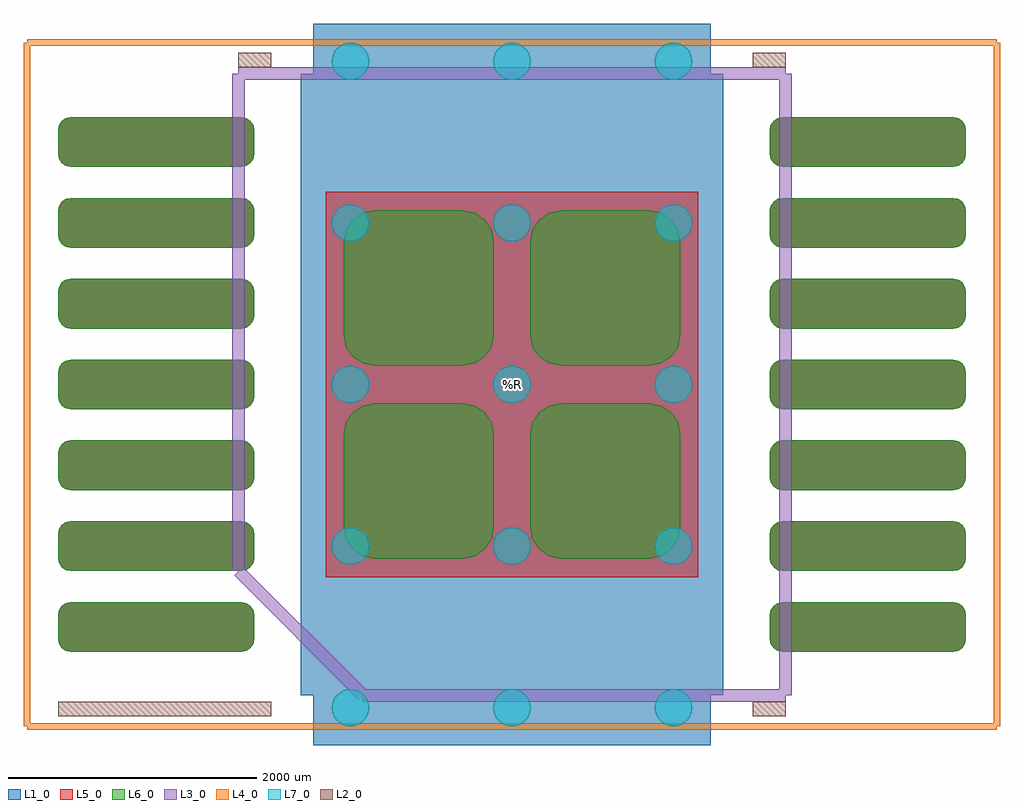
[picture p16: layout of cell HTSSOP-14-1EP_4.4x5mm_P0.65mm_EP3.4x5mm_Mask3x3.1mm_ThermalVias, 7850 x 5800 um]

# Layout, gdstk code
import gdstk
lib = gdstk.Library(unit=1e-6, precision=1e-09)
def R(c, l, rs):  # rectangles x0, y0, x1, y1
    for r in rs: c.add(gdstk.rectangle(r[:2], r[2:], *l))
def P(c, l, *ps):  # polygons
    for p in ps: c.add(gdstk.Polygon(p, *l))
L1_0 = (1, 0)
L2_0 = (2, 0)
L3_0 = (3, 0)
L4_0 = (4, 0)
L5_0 = (5, 0)
L6_0 = (6, 0)
L7_0 = (7, 0)

htssop_14_1ep_4_4x5mm_p0 = lib.new_cell('HTSSOP-14-1EP_4.4x5mm_P0.65mm_EP3.4x5mm_Mask3x3.1mm_ThermalVias')
R(htssop_14_1ep_4_4x5mm_p0, L1_0, [(-1600,-2900,1600,2900), (-1700,-2500,1700,2500)])
P(htssop_14_1ep_4_4x5mm_p0, L1_0, [(-2175,-2150),(-2137,-2142),(-2104,-2121),(-2083,-2088),(-2075,-2050),(-2075,-1850),(-2083,-1812),(-2104,-1779),(-2137,-1758),(-2175,-1750),(-3550,-1750),(-3588,-1758),(-3621,-1779),(-3642,-1812),(-3650,-1850),(-3650,-2050),(-3642,-2088),(-3621,-2121),(-3588,-2142),(-3550,-2150)],
  [(-2175,-1500),(-2137,-1492),(-2104,-1471),(-2083,-1438),(-2075,-1400),(-2075,-1200),(-2083,-1162),(-2104,-1129),(-2137,-1108),(-2175,-1100),(-3550,-1100),(-3588,-1108),(-3621,-1129),(-3642,-1162),(-3650,-1200),(-3650,-1400),(-3642,-1438),(-3621,-1471),(-3588,-1492),(-3550,-1500)],
  [(-2175,-850),(-2137,-842),(-2104,-821),(-2083,-788),(-2075,-750),(-2075,-550),(-2083,-512),(-2104,-479),(-2137,-458),(-2175,-450),(-3550,-450),(-3588,-458),(-3621,-479),(-3642,-512),(-3650,-550),(-3650,-750),(-3642,-788),(-3621,-821),(-3588,-842),(-3550,-850)],
  [(-2175,-200),(-2137,-192),(-2104,-171),(-2083,-138),(-2075,-100),(-2075,100),(-2083,138),(-2104,171),(-2137,192),(-2175,200),(-3550,200),(-3588,192),(-3621,171),(-3642,138),(-3650,100),(-3650,-100),(-3642,-138),(-3621,-171),(-3588,-192),(-3550,-200)],
  [(-2175,450),(-2137,458),(-2104,479),(-2083,512),(-2075,550),(-2075,750),(-2083,788),(-2104,821),(-2137,842),(-2175,850),(-3550,850),(-3588,842),(-3621,821),(-3642,788),(-3650,750),(-3650,550),(-3642,512),(-3621,479),(-3588,458),(-3550,450)],
  [(-2175,1100),(-2137,1108),(-2104,1129),(-2083,1162),(-2075,1200),(-2075,1400),(-2083,1438),(-2104,1471),(-2137,1492),(-2175,1500),(-3550,1500),(-3588,1492),(-3621,1471),(-3642,1438),(-3650,1400),(-3650,1200),(-3642,1162),(-3621,1129),(-3588,1108),(-3550,1100)],
  [(-2175,1750),(-2137,1758),(-2104,1779),(-2083,1812),(-2075,1850),(-2075,2050),(-2083,2088),(-2104,2121),(-2137,2142),(-2175,2150),(-3550,2150),(-3588,2142),(-3621,2121),(-3642,2088),(-3650,2050),(-3650,1850),(-3642,1812),(-3621,1779),(-3588,1758),(-3550,1750)],
  [(3550,1750),(3588,1758),(3621,1779),(3642,1812),(3650,1850),(3650,2050),(3642,2088),(3621,2121),(3588,2142),(3550,2150),(2175,2150),(2137,2142),(2104,2121),(2083,2088),(2075,2050),(2075,1850),(2083,1812),(2104,1779),(2137,1758),(2175,1750)],
  [(3550,1100),(3588,1108),(3621,1129),(3642,1162),(3650,1200),(3650,1400),(3642,1438),(3621,1471),(3588,1492),(3550,1500),(2175,1500),(2137,1492),(2104,1471),(2083,1438),(2075,1400),(2075,1200),(2083,1162),(2104,1129),(2137,1108),(2175,1100)],
  [(3550,450),(3588,458),(3621,479),(3642,512),(3650,550),(3650,750),(3642,788),(3621,821),(3588,842),(3550,850),(2175,850),(2137,842),(2104,821),(2083,788),(2075,750),(2075,550),(2083,512),(2104,479),(2137,458),(2175,450)],
  [(3550,-200),(3588,-192),(3621,-171),(3642,-138),(3650,-100),(3650,100),(3642,138),(3621,171),(3588,192),(3550,200),(2175,200),(2137,192),(2104,171),(2083,138),(2075,100),(2075,-100),(2083,-138),(2104,-171),(2137,-192),(2175,-200)],
  [(3550,-850),(3588,-842),(3621,-821),(3642,-788),(3650,-750),(3650,-550),(3642,-512),(3621,-479),(3588,-458),(3550,-450),(2175,-450),(2137,-458),(2104,-479),(2083,-512),(2075,-550),(2075,-750),(2083,-788),(2104,-821),(2137,-842),(2175,-850)],
  [(3550,-1500),(3588,-1492),(3621,-1471),(3642,-1438),(3650,-1400),(3650,-1200),(3642,-1162),(3621,-1129),(3588,-1108),(3550,-1100),(2175,-1100),(2137,-1108),(2104,-1129),(2083,-1162),(2075,-1200),(2075,-1400),(2083,-1438),(2104,-1471),(2137,-1492),(2175,-1500)],
  [(3550,-2150),(3588,-2142),(3621,-2121),(3642,-2088),(3650,-2050),(3650,-1850),(3642,-1812),(3621,-1779),(3588,-1758),(3550,-1750),(2175,-1750),(2137,-1758),(2104,-1779),(2083,-1812),(2075,-1850),(2075,-2050),(2083,-2088),(2104,-2121),(2137,-2142),(2175,-2150)],
  [(-1000,-2600),(-1023,-2485),(-1088,-2388),(-1185,-2323),(-1300,-2300),(-1415,-2323),(-1512,-2388),(-1577,-2485),(-1600,-2600),(-1577,-2715),(-1512,-2812),(-1415,-2877),(-1300,-2900),(-1185,-2877),(-1088,-2812),(-1023,-2715)],
  [(300,-2600),(277,-2485),(212,-2388),(115,-2323),(0,-2300),(-115,-2323),(-212,-2388),(-277,-2485),(-300,-2600),(-277,-2715),(-212,-2812),(-115,-2877),(0,-2900),(115,-2877),(212,-2812),(277,-2715)],
  [(1600,-2600),(1577,-2485),(1512,-2388),(1415,-2323),(1300,-2300),(1185,-2323),(1088,-2388),(1023,-2485),(1000,-2600),(1023,-2715),(1088,-2812),(1185,-2877),(1300,-2900),(1415,-2877),(1512,-2812),(1577,-2715)],
  [(-1000,-1300),(-1023,-1185),(-1088,-1088),(-1185,-1023),(-1300,-1000),(-1415,-1023),(-1512,-1088),(-1577,-1185),(-1600,-1300),(-1577,-1415),(-1512,-1512),(-1415,-1577),(-1300,-1600),(-1185,-1577),(-1088,-1512),(-1023,-1415)],
  [(300,-1300),(277,-1185),(212,-1088),(115,-1023),(0,-1000),(-115,-1023),(-212,-1088),(-277,-1185),(-300,-1300),(-277,-1415),(-212,-1512),(-115,-1577),(0,-1600),(115,-1577),(212,-1512),(277,-1415)],
  [(1600,-1300),(1577,-1185),(1512,-1088),(1415,-1023),(1300,-1000),(1185,-1023),(1088,-1088),(1023,-1185),(1000,-1300),(1023,-1415),(1088,-1512),(1185,-1577),(1300,-1600),(1415,-1577),(1512,-1512),(1577,-1415)],
  [(-1000,0),(-1023,115),(-1088,212),(-1185,277),(-1300,300),(-1415,277),(-1512,212),(-1577,115),(-1600,0),(-1577,-115),(-1512,-212),(-1415,-277),(-1300,-300),(-1185,-277),(-1088,-212),(-1023,-115)],
  [(300,0),(277,115),(212,212),(115,277),(0,300),(-115,277),(-212,212),(-277,115),(-300,0),(-277,-115),(-212,-212),(-115,-277),(0,-300),(115,-277),(212,-212),(277,-115)],
  [(1600,0),(1577,115),(1512,212),(1415,277),(1300,300),(1185,277),(1088,212),(1023,115),(1000,0),(1023,-115),(1088,-212),(1185,-277),(1300,-300),(1415,-277),(1512,-212),(1577,-115)],
  [(-1000,1300),(-1023,1415),(-1088,1512),(-1185,1577),(-1300,1600),(-1415,1577),(-1512,1512),(-1577,1415),(-1600,1300),(-1577,1185),(-1512,1088),(-1415,1023),(-1300,1000),(-1185,1023),(-1088,1088),(-1023,1185)],
  [(300,1300),(277,1415),(212,1512),(115,1577),(0,1600),(-115,1577),(-212,1512),(-277,1415),(-300,1300),(-277,1185),(-212,1088),(-115,1023),(0,1000),(115,1023),(212,1088),(277,1185)],
  [(1600,1300),(1577,1415),(1512,1512),(1415,1577),(1300,1600),(1185,1577),(1088,1512),(1023,1415),(1000,1300),(1023,1185),(1088,1088),(1185,1023),(1300,1000),(1415,1023),(1512,1088),(1577,1185)],
  [(-1000,2600),(-1023,2715),(-1088,2812),(-1185,2877),(-1300,2900),(-1415,2877),(-1512,2812),(-1577,2715),(-1600,2600),(-1577,2485),(-1512,2388),(-1415,2323),(-1300,2300),(-1185,2323),(-1088,2388),(-1023,2485)],
  [(300,2600),(277,2715),(212,2812),(115,2877),(0,2900),(-115,2877),(-212,2812),(-277,2715),(-300,2600),(-277,2485),(-212,2388),(-115,2323),(0,2300),(115,2323),(212,2388),(277,2485)],
  [(1600,2600),(1577,2715),(1512,2812),(1415,2877),(1300,2900),(1185,2877),(1088,2812),(1023,2715),(1000,2600),(1023,2485),(1088,2388),(1185,2323),(1300,2300),(1415,2323),(1512,2388),(1577,2485)])
R(htssop_14_1ep_4_4x5mm_p0, L5_0, [(-1500,-1550,1500,1550)])
P(htssop_14_1ep_4_4x5mm_p0, L5_0, [(-2175,-2150),(-2137,-2142),(-2104,-2121),(-2083,-2088),(-2075,-2050),(-2075,-1850),(-2083,-1812),(-2104,-1779),(-2137,-1758),(-2175,-1750),(-3550,-1750),(-3588,-1758),(-3621,-1779),(-3642,-1812),(-3650,-1850),(-3650,-2050),(-3642,-2088),(-3621,-2121),(-3588,-2142),(-3550,-2150)],
  [(-2175,-1500),(-2137,-1492),(-2104,-1471),(-2083,-1438),(-2075,-1400),(-2075,-1200),(-2083,-1162),(-2104,-1129),(-2137,-1108),(-2175,-1100),(-3550,-1100),(-3588,-1108),(-3621,-1129),(-3642,-1162),(-3650,-1200),(-3650,-1400),(-3642,-1438),(-3621,-1471),(-3588,-1492),(-3550,-1500)],
  [(-2175,-850),(-2137,-842),(-2104,-821),(-2083,-788),(-2075,-750),(-2075,-550),(-2083,-512),(-2104,-479),(-2137,-458),(-2175,-450),(-3550,-450),(-3588,-458),(-3621,-479),(-3642,-512),(-3650,-550),(-3650,-750),(-3642,-788),(-3621,-821),(-3588,-842),(-3550,-850)],
  [(-2175,-200),(-2137,-192),(-2104,-171),(-2083,-138),(-2075,-100),(-2075,100),(-2083,138),(-2104,171),(-2137,192),(-2175,200),(-3550,200),(-3588,192),(-3621,171),(-3642,138),(-3650,100),(-3650,-100),(-3642,-138),(-3621,-171),(-3588,-192),(-3550,-200)],
  [(-2175,450),(-2137,458),(-2104,479),(-2083,512),(-2075,550),(-2075,750),(-2083,788),(-2104,821),(-2137,842),(-2175,850),(-3550,850),(-3588,842),(-3621,821),(-3642,788),(-3650,750),(-3650,550),(-3642,512),(-3621,479),(-3588,458),(-3550,450)],
  [(-2175,1100),(-2137,1108),(-2104,1129),(-2083,1162),(-2075,1200),(-2075,1400),(-2083,1438),(-2104,1471),(-2137,1492),(-2175,1500),(-3550,1500),(-3588,1492),(-3621,1471),(-3642,1438),(-3650,1400),(-3650,1200),(-3642,1162),(-3621,1129),(-3588,1108),(-3550,1100)],
  [(-2175,1750),(-2137,1758),(-2104,1779),(-2083,1812),(-2075,1850),(-2075,2050),(-2083,2088),(-2104,2121),(-2137,2142),(-2175,2150),(-3550,2150),(-3588,2142),(-3621,2121),(-3642,2088),(-3650,2050),(-3650,1850),(-3642,1812),(-3621,1779),(-3588,1758),(-3550,1750)],
  [(3550,1750),(3588,1758),(3621,1779),(3642,1812),(3650,1850),(3650,2050),(3642,2088),(3621,2121),(3588,2142),(3550,2150),(2175,2150),(2137,2142),(2104,2121),(2083,2088),(2075,2050),(2075,1850),(2083,1812),(2104,1779),(2137,1758),(2175,1750)],
  [(3550,1100),(3588,1108),(3621,1129),(3642,1162),(3650,1200),(3650,1400),(3642,1438),(3621,1471),(3588,1492),(3550,1500),(2175,1500),(2137,1492),(2104,1471),(2083,1438),(2075,1400),(2075,1200),(2083,1162),(2104,1129),(2137,1108),(2175,1100)],
  [(3550,450),(3588,458),(3621,479),(3642,512),(3650,550),(3650,750),(3642,788),(3621,821),(3588,842),(3550,850),(2175,850),(2137,842),(2104,821),(2083,788),(2075,750),(2075,550),(2083,512),(2104,479),(2137,458),(2175,450)],
  [(3550,-200),(3588,-192),(3621,-171),(3642,-138),(3650,-100),(3650,100),(3642,138),(3621,171),(3588,192),(3550,200),(2175,200),(2137,192),(2104,171),(2083,138),(2075,100),(2075,-100),(2083,-138),(2104,-171),(2137,-192),(2175,-200)],
  [(3550,-850),(3588,-842),(3621,-821),(3642,-788),(3650,-750),(3650,-550),(3642,-512),(3621,-479),(3588,-458),(3550,-450),(2175,-450),(2137,-458),(2104,-479),(2083,-512),(2075,-550),(2075,-750),(2083,-788),(2104,-821),(2137,-842),(2175,-850)],
  [(3550,-1500),(3588,-1492),(3621,-1471),(3642,-1438),(3650,-1400),(3650,-1200),(3642,-1162),(3621,-1129),(3588,-1108),(3550,-1100),(2175,-1100),(2137,-1108),(2104,-1129),(2083,-1162),(2075,-1200),(2075,-1400),(2083,-1438),(2104,-1471),(2137,-1492),(2175,-1500)],
  [(3550,-2150),(3588,-2142),(3621,-2121),(3642,-2088),(3650,-2050),(3650,-1850),(3642,-1812),(3621,-1779),(3588,-1758),(3550,-1750),(2175,-1750),(2137,-1758),(2104,-1779),(2083,-1812),(2075,-1850),(2075,-2050),(2083,-2088),(2104,-2121),(2137,-2142),(2175,-2150)])
P(htssop_14_1ep_4_4x5mm_p0, L6_0, [(-2175,-2150),(-2137,-2142),(-2104,-2121),(-2083,-2088),(-2075,-2050),(-2075,-1850),(-2083,-1812),(-2104,-1779),(-2137,-1758),(-2175,-1750),(-3550,-1750),(-3588,-1758),(-3621,-1779),(-3642,-1812),(-3650,-1850),(-3650,-2050),(-3642,-2088),(-3621,-2121),(-3588,-2142),(-3550,-2150)],
  [(-2175,-1500),(-2137,-1492),(-2104,-1471),(-2083,-1438),(-2075,-1400),(-2075,-1200),(-2083,-1162),(-2104,-1129),(-2137,-1108),(-2175,-1100),(-3550,-1100),(-3588,-1108),(-3621,-1129),(-3642,-1162),(-3650,-1200),(-3650,-1400),(-3642,-1438),(-3621,-1471),(-3588,-1492),(-3550,-1500)],
  [(-2175,-850),(-2137,-842),(-2104,-821),(-2083,-788),(-2075,-750),(-2075,-550),(-2083,-512),(-2104,-479),(-2137,-458),(-2175,-450),(-3550,-450),(-3588,-458),(-3621,-479),(-3642,-512),(-3650,-550),(-3650,-750),(-3642,-788),(-3621,-821),(-3588,-842),(-3550,-850)],
  [(-2175,-200),(-2137,-192),(-2104,-171),(-2083,-138),(-2075,-100),(-2075,100),(-2083,138),(-2104,171),(-2137,192),(-2175,200),(-3550,200),(-3588,192),(-3621,171),(-3642,138),(-3650,100),(-3650,-100),(-3642,-138),(-3621,-171),(-3588,-192),(-3550,-200)],
  [(-2175,450),(-2137,458),(-2104,479),(-2083,512),(-2075,550),(-2075,750),(-2083,788),(-2104,821),(-2137,842),(-2175,850),(-3550,850),(-3588,842),(-3621,821),(-3642,788),(-3650,750),(-3650,550),(-3642,512),(-3621,479),(-3588,458),(-3550,450)],
  [(-2175,1100),(-2137,1108),(-2104,1129),(-2083,1162),(-2075,1200),(-2075,1400),(-2083,1438),(-2104,1471),(-2137,1492),(-2175,1500),(-3550,1500),(-3588,1492),(-3621,1471),(-3642,1438),(-3650,1400),(-3650,1200),(-3642,1162),(-3621,1129),(-3588,1108),(-3550,1100)],
  [(-2175,1750),(-2137,1758),(-2104,1779),(-2083,1812),(-2075,1850),(-2075,2050),(-2083,2088),(-2104,2121),(-2137,2142),(-2175,2150),(-3550,2150),(-3588,2142),(-3621,2121),(-3642,2088),(-3650,2050),(-3650,1850),(-3642,1812),(-3621,1779),(-3588,1758),(-3550,1750)],
  [(3550,1750),(3588,1758),(3621,1779),(3642,1812),(3650,1850),(3650,2050),(3642,2088),(3621,2121),(3588,2142),(3550,2150),(2175,2150),(2137,2142),(2104,2121),(2083,2088),(2075,2050),(2075,1850),(2083,1812),(2104,1779),(2137,1758),(2175,1750)],
  [(3550,1100),(3588,1108),(3621,1129),(3642,1162),(3650,1200),(3650,1400),(3642,1438),(3621,1471),(3588,1492),(3550,1500),(2175,1500),(2137,1492),(2104,1471),(2083,1438),(2075,1400),(2075,1200),(2083,1162),(2104,1129),(2137,1108),(2175,1100)],
  [(3550,450),(3588,458),(3621,479),(3642,512),(3650,550),(3650,750),(3642,788),(3621,821),(3588,842),(3550,850),(2175,850),(2137,842),(2104,821),(2083,788),(2075,750),(2075,550),(2083,512),(2104,479),(2137,458),(2175,450)],
  [(3550,-200),(3588,-192),(3621,-171),(3642,-138),(3650,-100),(3650,100),(3642,138),(3621,171),(3588,192),(3550,200),(2175,200),(2137,192),(2104,171),(2083,138),(2075,100),(2075,-100),(2083,-138),(2104,-171),(2137,-192),(2175,-200)],
  [(3550,-850),(3588,-842),(3621,-821),(3642,-788),(3650,-750),(3650,-550),(3642,-512),(3621,-479),(3588,-458),(3550,-450),(2175,-450),(2137,-458),(2104,-479),(2083,-512),(2075,-550),(2075,-750),(2083,-788),(2104,-821),(2137,-842),(2175,-850)],
  [(3550,-1500),(3588,-1492),(3621,-1471),(3642,-1438),(3650,-1400),(3650,-1200),(3642,-1162),(3621,-1129),(3588,-1108),(3550,-1100),(2175,-1100),(2137,-1108),(2104,-1129),(2083,-1162),(2075,-1200),(2075,-1400),(2083,-1438),(2104,-1471),(2137,-1492),(2175,-1500)],
  [(3550,-2150),(3588,-2142),(3621,-2121),(3642,-2088),(3650,-2050),(3650,-1850),(3642,-1812),(3621,-1779),(3588,-1758),(3550,-1750),(2175,-1750),(2137,-1758),(2104,-1779),(2083,-1812),(2075,-1850),(2075,-2050),(2083,-2088),(2104,-2121),(2137,-2142),(2175,-2150)],
  [(-395,-1400),(-299,-1381),(-218,-1327),(-164,-1246),(-145,-1150),(-145,-400),(-164,-304),(-218,-223),(-299,-169),(-395,-150),(-1105,-150),(-1201,-169),(-1282,-223),(-1336,-304),(-1355,-400),(-1355,-1150),(-1336,-1246),(-1282,-1327),(-1201,-1381),(-1105,-1400)],
  [(-395,150),(-299,169),(-218,223),(-164,304),(-145,400),(-145,1150),(-164,1246),(-218,1327),(-299,1381),(-395,1400),(-1105,1400),(-1201,1381),(-1282,1327),(-1336,1246),(-1355,1150),(-1355,400),(-1336,304),(-1282,223),(-1201,169),(-1105,150)],
  [(1105,-1400),(1201,-1381),(1282,-1327),(1336,-1246),(1355,-1150),(1355,-400),(1336,-304),(1282,-223),(1201,-169),(1105,-150),(395,-150),(299,-169),(218,-223),(164,-304),(145,-400),(145,-1150),(164,-1246),(218,-1327),(299,-1381),(395,-1400)],
  [(1105,150),(1201,169),(1282,223),(1336,304),(1355,400),(1355,1150),(1336,1246),(1282,1327),(1201,1381),(1105,1400),(395,1400),(299,1381),(218,1327),(164,1246),(145,1150),(145,400),(164,304),(218,223),(299,169),(395,150)])
P(htssop_14_1ep_4_4x5mm_p0, L7_0, [(-1150,-2600),(-1153,-2571),(-1161,-2543),(-1175,-2517),(-1194,-2494),(-1217,-2475),(-1243,-2461),(-1271,-2453),(-1300,-2450),(-1329,-2453),(-1357,-2461),(-1383,-2475),(-1406,-2494),(-1425,-2517),(-1439,-2543),(-1447,-2571),(-1450,-2600),(-1447,-2629),(-1439,-2657),(-1425,-2683),(-1406,-2706),(-1383,-2725),(-1357,-2739),(-1329,-2747),(-1300,-2750),(-1271,-2747),(-1243,-2739),(-1217,-2725),(-1194,-2706),(-1175,-2683),(-1161,-2657),(-1153,-2629)],
  [(150,-2600),(147,-2571),(139,-2543),(125,-2517),(106,-2494),(83,-2475),(57,-2461),(29,-2453),(0,-2450),(-29,-2453),(-57,-2461),(-83,-2475),(-106,-2494),(-125,-2517),(-139,-2543),(-147,-2571),(-150,-2600),(-147,-2629),(-139,-2657),(-125,-2683),(-106,-2706),(-83,-2725),(-57,-2739),(-29,-2747),(0,-2750),(29,-2747),(57,-2739),(83,-2725),(106,-2706),(125,-2683),(139,-2657),(147,-2629)],
  [(1450,-2600),(1447,-2571),(1439,-2543),(1425,-2517),(1406,-2494),(1383,-2475),(1357,-2461),(1329,-2453),(1300,-2450),(1271,-2453),(1243,-2461),(1217,-2475),(1194,-2494),(1175,-2517),(1161,-2543),(1153,-2571),(1150,-2600),(1153,-2629),(1161,-2657),(1175,-2683),(1194,-2706),(1217,-2725),(1243,-2739),(1271,-2747),(1300,-2750),(1329,-2747),(1357,-2739),(1383,-2725),(1406,-2706),(1425,-2683),(1439,-2657),(1447,-2629)],
  [(-1150,-1300),(-1153,-1271),(-1161,-1243),(-1175,-1217),(-1194,-1194),(-1217,-1175),(-1243,-1161),(-1271,-1153),(-1300,-1150),(-1329,-1153),(-1357,-1161),(-1383,-1175),(-1406,-1194),(-1425,-1217),(-1439,-1243),(-1447,-1271),(-1450,-1300),(-1447,-1329),(-1439,-1357),(-1425,-1383),(-1406,-1406),(-1383,-1425),(-1357,-1439),(-1329,-1447),(-1300,-1450),(-1271,-1447),(-1243,-1439),(-1217,-1425),(-1194,-1406),(-1175,-1383),(-1161,-1357),(-1153,-1329)],
  [(150,-1300),(147,-1271),(139,-1243),(125,-1217),(106,-1194),(83,-1175),(57,-1161),(29,-1153),(0,-1150),(-29,-1153),(-57,-1161),(-83,-1175),(-106,-1194),(-125,-1217),(-139,-1243),(-147,-1271),(-150,-1300),(-147,-1329),(-139,-1357),(-125,-1383),(-106,-1406),(-83,-1425),(-57,-1439),(-29,-1447),(0,-1450),(29,-1447),(57,-1439),(83,-1425),(106,-1406),(125,-1383),(139,-1357),(147,-1329)],
  [(1450,-1300),(1447,-1271),(1439,-1243),(1425,-1217),(1406,-1194),(1383,-1175),(1357,-1161),(1329,-1153),(1300,-1150),(1271,-1153),(1243,-1161),(1217,-1175),(1194,-1194),(1175,-1217),(1161,-1243),(1153,-1271),(1150,-1300),(1153,-1329),(1161,-1357),(1175,-1383),(1194,-1406),(1217,-1425),(1243,-1439),(1271,-1447),(1300,-1450),(1329,-1447),(1357,-1439),(1383,-1425),(1406,-1406),(1425,-1383),(1439,-1357),(1447,-1329)],
  [(-1150,0),(-1153,29),(-1161,57),(-1175,83),(-1194,106),(-1217,125),(-1243,139),(-1271,147),(-1300,150),(-1329,147),(-1357,139),(-1383,125),(-1406,106),(-1425,83),(-1439,57),(-1447,29),(-1450,0),(-1447,-29),(-1439,-57),(-1425,-83),(-1406,-106),(-1383,-125),(-1357,-139),(-1329,-147),(-1300,-150),(-1271,-147),(-1243,-139),(-1217,-125),(-1194,-106),(-1175,-83),(-1161,-57),(-1153,-29)],
  [(150,0),(147,29),(139,57),(125,83),(106,106),(83,125),(57,139),(29,147),(0,150),(-29,147),(-57,139),(-83,125),(-106,106),(-125,83),(-139,57),(-147,29),(-150,0),(-147,-29),(-139,-57),(-125,-83),(-106,-106),(-83,-125),(-57,-139),(-29,-147),(0,-150),(29,-147),(57,-139),(83,-125),(106,-106),(125,-83),(139,-57),(147,-29)],
  [(1450,0),(1447,29),(1439,57),(1425,83),(1406,106),(1383,125),(1357,139),(1329,147),(1300,150),(1271,147),(1243,139),(1217,125),(1194,106),(1175,83),(1161,57),(1153,29),(1150,0),(1153,-29),(1161,-57),(1175,-83),(1194,-106),(1217,-125),(1243,-139),(1271,-147),(1300,-150),(1329,-147),(1357,-139),(1383,-125),(1406,-106),(1425,-83),(1439,-57),(1447,-29)],
  [(-1150,1300),(-1153,1329),(-1161,1357),(-1175,1383),(-1194,1406),(-1217,1425),(-1243,1439),(-1271,1447),(-1300,1450),(-1329,1447),(-1357,1439),(-1383,1425),(-1406,1406),(-1425,1383),(-1439,1357),(-1447,1329),(-1450,1300),(-1447,1271),(-1439,1243),(-1425,1217),(-1406,1194),(-1383,1175),(-1357,1161),(-1329,1153),(-1300,1150),(-1271,1153),(-1243,1161),(-1217,1175),(-1194,1194),(-1175,1217),(-1161,1243),(-1153,1271)],
  [(150,1300),(147,1329),(139,1357),(125,1383),(106,1406),(83,1425),(57,1439),(29,1447),(0,1450),(-29,1447),(-57,1439),(-83,1425),(-106,1406),(-125,1383),(-139,1357),(-147,1329),(-150,1300),(-147,1271),(-139,1243),(-125,1217),(-106,1194),(-83,1175),(-57,1161),(-29,1153),(0,1150),(29,1153),(57,1161),(83,1175),(106,1194),(125,1217),(139,1243),(147,1271)],
  [(1450,1300),(1447,1329),(1439,1357),(1425,1383),(1406,1406),(1383,1425),(1357,1439),(1329,1447),(1300,1450),(1271,1447),(1243,1439),(1217,1425),(1194,1406),(1175,1383),(1161,1357),(1153,1329),(1150,1300),(1153,1271),(1161,1243),(1175,1217),(1194,1194),(1217,1175),(1243,1161),(1271,1153),(1300,1150),(1329,1153),(1357,1161),(1383,1175),(1406,1194),(1425,1217),(1439,1243),(1447,1271)],
  [(-1150,2600),(-1153,2629),(-1161,2657),(-1175,2683),(-1194,2706),(-1217,2725),(-1243,2739),(-1271,2747),(-1300,2750),(-1329,2747),(-1357,2739),(-1383,2725),(-1406,2706),(-1425,2683),(-1439,2657),(-1447,2629),(-1450,2600),(-1447,2571),(-1439,2543),(-1425,2517),(-1406,2494),(-1383,2475),(-1357,2461),(-1329,2453),(-1300,2450),(-1271,2453),(-1243,2461),(-1217,2475),(-1194,2494),(-1175,2517),(-1161,2543),(-1153,2571)],
  [(150,2600),(147,2629),(139,2657),(125,2683),(106,2706),(83,2725),(57,2739),(29,2747),(0,2750),(-29,2747),(-57,2739),(-83,2725),(-106,2706),(-125,2683),(-139,2657),(-147,2629),(-150,2600),(-147,2571),(-139,2543),(-125,2517),(-106,2494),(-83,2475),(-57,2461),(-29,2453),(0,2450),(29,2453),(57,2461),(83,2475),(106,2494),(125,2517),(139,2543),(147,2571)],
  [(1450,2600),(1447,2629),(1439,2657),(1425,2683),(1406,2706),(1383,2725),(1357,2739),(1329,2747),(1300,2750),(1271,2747),(1243,2739),(1217,2725),(1194,2706),(1175,2683),(1161,2657),(1153,2629),(1150,2600),(1153,2571),(1161,2543),(1175,2517),(1194,2494),(1217,2475),(1243,2461),(1271,2453),(1300,2450),(1329,2453),(1357,2461),(1383,2475),(1406,2494),(1425,2517),(1439,2543),(1447,2571)])
htssop_14_1ep_4_4x5mm_p0.add(gdstk.FlexPath([(1936,2610),(2200,2610)], 120, ends="flush", simple_path=True, layer=2, datatype=0))  # L2_0
htssop_14_1ep_4_4x5mm_p0.add(gdstk.FlexPath([(-1936,2610),(-2200,2610)], 120, ends="flush", simple_path=True, layer=2, datatype=0))  # L2_0
htssop_14_1ep_4_4x5mm_p0.add(gdstk.FlexPath([(1936,-2610),(2200,-2610)], 120, ends="flush", simple_path=True, layer=2, datatype=0))  # L2_0
htssop_14_1ep_4_4x5mm_p0.add(gdstk.FlexPath([(-1936,-2610),(-3650,-2610)], 120, ends="flush", simple_path=True, layer=2, datatype=0))  # L2_0
htssop_14_1ep_4_4x5mm_p0.add(gdstk.FlexPath([(-1200,-2500),(2200,-2500)], 100, ends="flush", simple_path=True, layer=3, datatype=0))  # L3_0
htssop_14_1ep_4_4x5mm_p0.add(gdstk.FlexPath([(2200,-2500),(2200,2500)], 100, ends="flush", simple_path=True, layer=3, datatype=0))  # L3_0
htssop_14_1ep_4_4x5mm_p0.add(gdstk.FlexPath([(2200,2500),(-2200,2500)], 100, ends="flush", simple_path=True, layer=3, datatype=0))  # L3_0
htssop_14_1ep_4_4x5mm_p0.add(gdstk.FlexPath([(-2200,2500),(-2200,-1500)], 100, ends="flush", simple_path=True, layer=3, datatype=0))  # L3_0
htssop_14_1ep_4_4x5mm_p0.add(gdstk.FlexPath([(-2200,-1500),(-1200,-2500)], 100, ends="flush", simple_path=True, layer=3, datatype=0))  # L3_0
htssop_14_1ep_4_4x5mm_p0.add(gdstk.FlexPath([(-3900,-2750),(-3900,2750)], 50, ends="flush", simple_path=True, layer=4, datatype=0))  # L4_0
htssop_14_1ep_4_4x5mm_p0.add(gdstk.FlexPath([(-3900,2750),(3900,2750)], 50, ends="flush", simple_path=True, layer=4, datatype=0))  # L4_0
htssop_14_1ep_4_4x5mm_p0.add(gdstk.FlexPath([(3900,2750),(3900,-2750)], 50, ends="flush", simple_path=True, layer=4, datatype=0))  # L4_0
htssop_14_1ep_4_4x5mm_p0.add(gdstk.FlexPath([(3900,-2750),(-3900,-2750)], 50, ends="flush", simple_path=True, layer=4, datatype=0))  # L4_0
htssop_14_1ep_4_4x5mm_p0.add(gdstk.Label('REF**', (0,-3450), layer=2, texttype=0))
htssop_14_1ep_4_4x5mm_p0.add(gdstk.Label('HTSSOP-14-1EP_4.4x5mm_P0.65mm_EP3.4x5mm_Mask3x3.1mm_ThermalVias', (0,3450), layer=3, texttype=0))
htssop_14_1ep_4_4x5mm_p0.add(gdstk.Label('%R', (0,0), layer=3, texttype=0))

lib.write_gds('HTSSOP-14-1EP_4.4x5mm_P0.65mm_EP3.4x5mm_Mask3x3.1mm_ThermalVias.gds')
